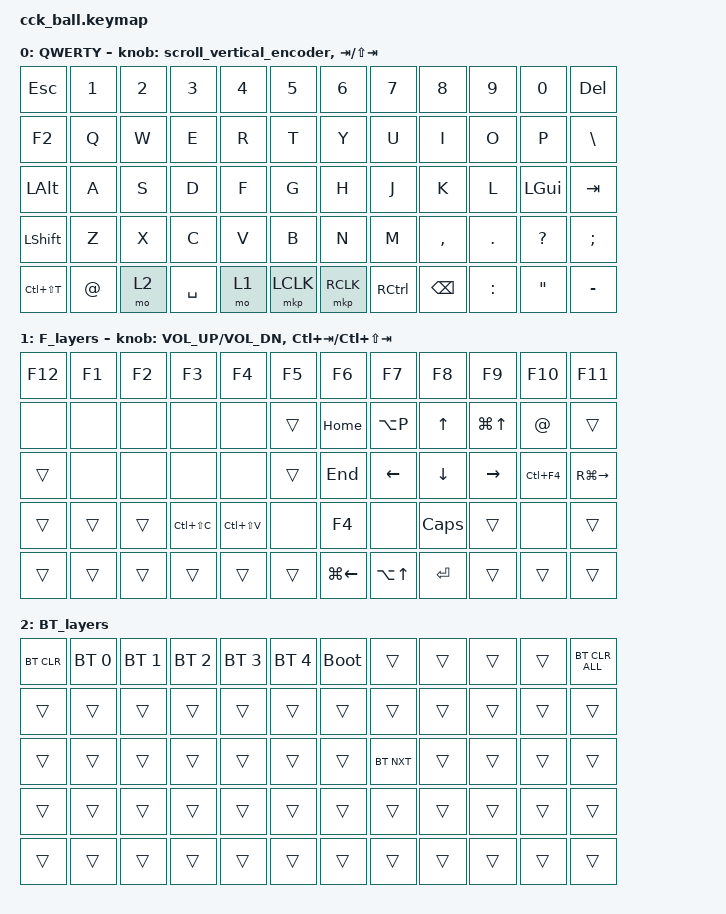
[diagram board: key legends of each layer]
#define ZMK_POINTING_DEFAULT_MOVE_VAL 1000 // 600
#define ZMK_POINTING_DEFAULT_SCRL_VAL 12   // 10

#include <input/processors.dtsi>
#include <zephyr/dt-bindings/input/input-event-codes.h>
#include <behaviors.dtsi>
#include <dt-bindings/zmk/bt.h>
#include <dt-bindings/zmk/keys.h>
#include <dt-bindings/zmk/pointing.h>

&mmv_input_listener { input-processors = <&zip_xy_scaler 2 1>; };

&msc_input_listener { input-processors = <&zip_scroll_scaler 2 1>; };

&msc {
    acceleration-exponent = <0>;      // 0
    time-to-max-speed-ms = <300>;       // 300
    delay-ms = <0>;                   // 0
};

&mmv {
    time-to-max-speed-ms = <500>;
    acceleration-exponent = <1>;
    trigger-period-ms = <16>;
};

&soft_off { hold-time-ms = <2000>; };

/ {
    // 上下滚动编码器行为

    scroll_vertical_encoder: scroll_vertical_encoder {
        compatible = "zmk,behavior-sensor-rotate";
        #sensor-binding-cells = <0>;
        bindings = <&msc SCRL_DOWN>, <&msc SCRL_UP>;

        tap-ms = <100>;
    };

    // 左右滚动编码器行为

    scroll_horizontal_encoder: scroll_horizontal_encoder {
        compatible = "zmk,behavior-sensor-rotate";
        #sensor-binding-cells = <0>;
        bindings = <&msc SCRL_LEFT>, <&msc SCRL_RIGHT>;

        tap-ms = <100>;
    };

    behaviors {
    };

    keymap {
        compatible = "zmk,keymap";

        QWERTY {
            bindings = <
&kp ESC         &kp N1  &kp N2  &kp N3     &kp N4  &kp N5     &kp N6     &kp N7             &kp N8         &kp N9     &kp N0        &kp DEL
&kp F2          &kp Q   &kp W   &kp E      &kp R   &kp T      &kp Y      &kp U              &kp I          &kp O      &kp P         &kp BSLH
&kp LEFT_ALT    &kp A   &kp S   &kp D      &kp F   &kp G      &kp H      &kp J              &kp K          &kp L      &kp LEFT_GUI  &kp TAB
&kp LEFT_SHIFT  &kp Z   &kp X   &kp C      &kp V   &kp B      &kp N      &kp M              &kp COMMA      &kp DOT    &kp QMARK     &kp SEMICOLON
&kp LC(LS(T))   &kp AT  &mo 2   &kp SPACE  &mo 1   &mkp LCLK  &mkp RCLK  &kp RIGHT_CONTROL  &kp BACKSPACE  &kp COLON  &kp DQT       &kp MINUS
            >;

            sensor-bindings =
                <&scroll_vertical_encoder>,
                <&inc_dec_kp TAB LS(TAB)>;
        };

        F_layers {
            bindings = <
&kp F12  &kp F1  &kp F2  &kp F3         &kp F4         &kp F5  &kp F6              &kp F7            &kp F8          &kp F9            &kp F10     &kp F11
&none    &none   &none   &none          &none          &trans  &kp HOME            &kp LA(P)         &kp UP_ARROW    &kp LG(UP_ARROW)  &kp AT      &trans
&trans   &none   &none   &none          &none          &trans  &kp END             &kp LEFT_ARROW    &kp DOWN_ARROW  &kp RIGHT_ARROW   &kp LC(F4)  &kp RG(RIGHT)
&trans   &trans  &trans  &kp LC(LS(C))  &kp LC(LS(V))  &none   &kp F4              &none             &kp CAPS        &trans            &none       &trans
&trans   &trans  &trans  &trans         &trans         &trans  &kp LG(LEFT_ARROW)  &kp LA(UP_ARROW)  &kp ENTER       &trans            &trans      &trans
            >;

            sensor-bindings =
                <&inc_dec_kp C_VOL_UP C_VOL_DN>,
                <&inc_dec_kp LC(TAB) LC(LS(TAB))>;
        };

        BT_layers {
            bindings = <
&bt BT_CLR  &bt BT_SEL 0  &bt BT_SEL 1  &bt BT_SEL 2  &bt BT_SEL 3  &bt BT_SEL 4  &bootloader  &trans      &trans  &trans  &trans  &bt BT_CLR_ALL
&trans      &trans        &trans        &trans        &trans        &trans        &trans       &trans      &trans  &trans  &trans  &trans
&trans      &trans        &trans        &trans        &trans        &trans        &trans       &bt BT_NXT  &trans  &trans  &trans  &trans
&trans      &trans        &trans        &trans        &trans        &trans        &trans       &trans      &trans  &trans  &trans  &trans
&trans      &trans        &trans        &trans        &trans        &trans        &trans       &trans      &trans  &trans  &trans  &trans
            >;
        };
    };
};
